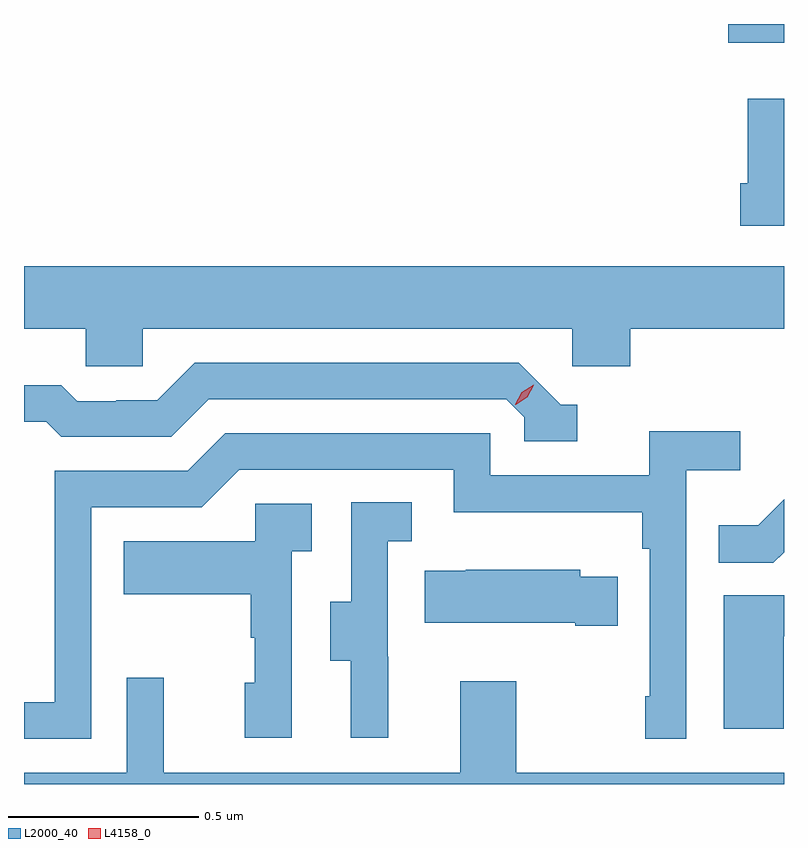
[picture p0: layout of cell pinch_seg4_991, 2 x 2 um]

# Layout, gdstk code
import gdstk
lib = gdstk.Library(unit=1e-6, precision=1e-09)
def R(c, l, rs):  # rectangles x0, y0, x1, y1
    for r in rs: c.add(gdstk.rectangle(r[:2], r[2:], *l))
def P(c, l, *ps):  # polygons
    for p in ps: c.add(gdstk.Polygon(p, *l))
L2000_40 = (2000, 40)
L4158_0 = (4158, 0)

pinch_seg4_991 = lib.new_cell('pinch_seg4_991')
R(pinch_seg4_991, L2000_40, [(886.634,786.917,886.781,786.966)])
P(pinch_seg4_991, L2000_40, [(886.781,786.769),(886.686,786.769),(886.686,786.547),(886.666,786.547),(886.666,786.435),(886.781,786.435)],
  [(885.093,786.164),(886.224,786.164),(886.224,786.066),(886.376,786.066),(886.376,786.164),(886.781,786.164),(886.781,786.328),(884.781,786.328),(884.781,786.164),(884.943,786.164),(884.943,786.066),(885.093,786.066)],
  [(886.237,785.964),(886.194,785.964),(886.083,786.075),(885.23,786.075),(885.131,785.976),(885.024,785.976),(885.024,785.973),(884.921,785.973),(884.879,786.016),(884.781,786.016),(884.781,785.919),(884.84,785.919),(884.879,785.88),(885.168,785.88),(885.267,785.979),(886.05,785.979),(886.098,785.931),(886.098,785.868),(886.237,785.868)],
  [(884.958,785.694),(885.249,785.694),(885.348,785.793),(885.912,785.793),(885.912,785.681),(886.408,785.681),(886.408,785.585),(886.428,785.585),(886.428,785.197),(886.416,785.197),(886.416,785.085),(886.524,785.085),(886.524,785.792),(886.666,785.792),(886.666,785.894),(886.427,785.894),(886.427,785.778),(886.008,785.778),(886.008,785.889),(885.311,785.889),(885.212,785.79),(884.862,785.79),(884.862,785.181),(884.781,785.181),(884.781,785.085),(884.958,785.085)],
  [(886.781,785.576),(886.781,785.715),(886.713,785.647),(886.609,785.647),(886.609,785.548),(886.753,785.548)],
  [(885.74,785.301),(885.738,785.301),(885.738,785.605),(885.802,785.605),(885.802,785.708),(885.642,785.708),(885.642,785.445),(885.587,785.445),(885.587,785.29),(885.641,785.29),(885.641,785.088),(885.74,785.088)],
  [(885.486,785.579),(885.538,785.579),(885.538,785.703),(885.39,785.703),(885.39,785.605),(885.043,785.605),(885.043,785.465),(885.378,785.465),(885.378,785.351),(885.388,785.351),(885.388,785.232),(885.362,785.232),(885.362,785.088),(885.486,785.088)],
  [(886.343,785.512),(886.245,785.512),(886.245,785.53),(885.943,785.53),(885.943,785.527),(885.835,785.527),(885.835,785.39),(886.232,785.39),(886.232,785.383),(886.343,785.383)],
  [(886.78,785.355),(886.781,785.355),(886.781,785.463),(886.622,785.463),(886.622,785.112),(886.78,785.112)],
  [(886.781,784.996),(886.077,784.996),(886.077,785.236),(885.929,785.236),(885.929,784.996),(885.149,784.996),(885.149,785.245),(885.051,785.245),(885.051,784.996),(884.781,784.996),(884.781,784.966),(886.781,784.966)])
P(pinch_seg4_991, L4158_0, [(886.074,785.964),(886.074,785.965),(886.091,785.997),(886.122,786.017),(886.122,786.017),(886.122,786.016),(886.105,785.984),(886.075,785.964)])

lib.write_gds('pinch_seg4_991.gds')
